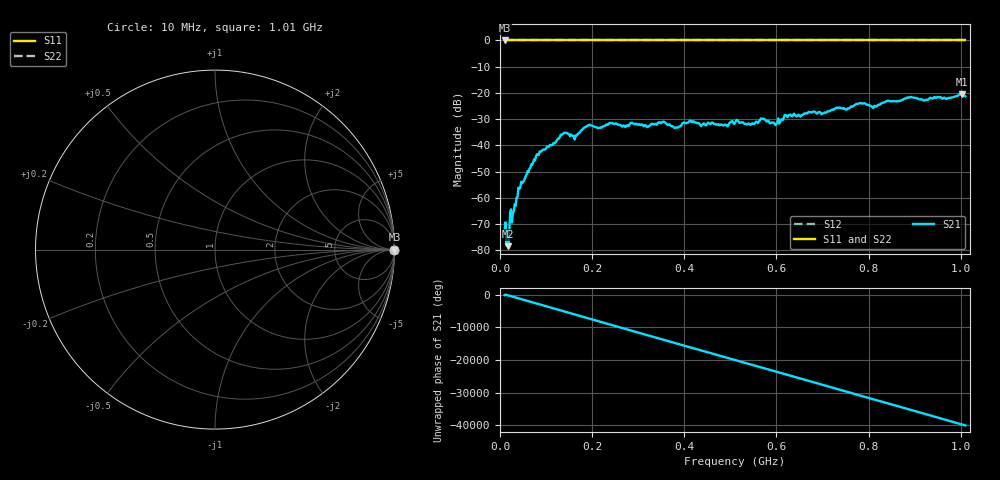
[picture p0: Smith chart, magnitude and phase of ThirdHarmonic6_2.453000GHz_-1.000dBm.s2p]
! 8/17/2025 4:23:54 AM
! C:\ANRITSUVNA\TEMP\TEMP.S2P
! CHANNEL.1
! TR.MEASUREMENT
! RAW.DATA
! RF.CORRECTION.OFF
! AVERAGING.OFF
! IF.BANDWIDTH: 5KHZ
! SWEEPTYPE:  FREQ.SWEEP(Linear)
! Reference Plane Port Info
! PORT:  PORT1  PORT2
! DISTANCE:  0  m  0  m
! TIME:  0  s  0  s
! PHASE.OFFSET:  0  deg.  0  deg.
! LOSS:  0  dB  0  dB
! REF.LOSS:  0  dB  0  dB
! REF.FREQ:  0  Hz  0  Hz
! Power Info
! POWER:  -20  dBm  -20  dBm
! EFF.POWER:  -20  dBm  -20  dBm
! SOURCE.ATTEN:  0  dB  0  dB
! TEST.ATTEN:  0  dB  0  dB
# GHZ S RI R 50.0
! FREQ.GHZ  S11RE  S11IM  S21RE  S21IM  S12RE  S12IM  S22RE  S22IM
!; PortSelection: Port_12
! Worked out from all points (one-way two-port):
!   501 points, 10 MHz to 1.01 GHz, reference 50 ohm
!   highest |S21| = -20.50 dB at 1.002 GHz (marker M1); lowest = -78.4 dB at 18 MHz (marker M2)
!   lowest |S11| = 0.0 dB at 10 MHz (marker M3)
!   |S11| at or under -10 dB: nowhere
!   |S22| runs from 0.0 to 0.0 dB; largest |S21 - S12| = 1.1
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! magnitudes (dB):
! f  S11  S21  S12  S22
! 10 MHz  0.0  -72.5  0.0  0.0
! 18 MHz  0.0  -78.4  0.0  0.0
! 26 MHz  0.0  -69.4  0.0  0.0
! 30 MHz  0.0  -65.0  0.0  0.0
! 44 MHz  0.0  -56.0  0.0  0.0
! 82 MHz  0.0  -43.3  0.0  0.0
! 136 MHz  0.0  -35.7  0.0  0.0
! 162 MHz  0.0  -37.7  0.0  0.0
! 178 MHz  0.0  -34.0  0.0  0.0
! 240 MHz  0.0  -31.5  0.0  0.0
! 344 MHz  0.0  -31.3  0.0  0.0
! 382 MHz  0.0  -33.2  0.0  0.0
! 414 MHz  0.0  -30.7  0.0  0.0
! 510 MHz  0.0  -31.4  0.0  0.0
! 548 MHz  0.0  -31.6  0.0  0.0
! 570 MHz  0.0  -29.7  0.0  0.0
! 598 MHz  0.0  -32.2  0.0  0.0
! 622 MHz  0.0  -28.7  0.0  0.0
! 678 MHz  0.0  -27.3  0.0  0.0
! 844 MHz  0.0  -23.1  0.0  0.0
! 1.002 GHz  0.0  -20.5  0.0  0.0
! 1.01 GHz  0.0  -21.3  0.0  0.0
